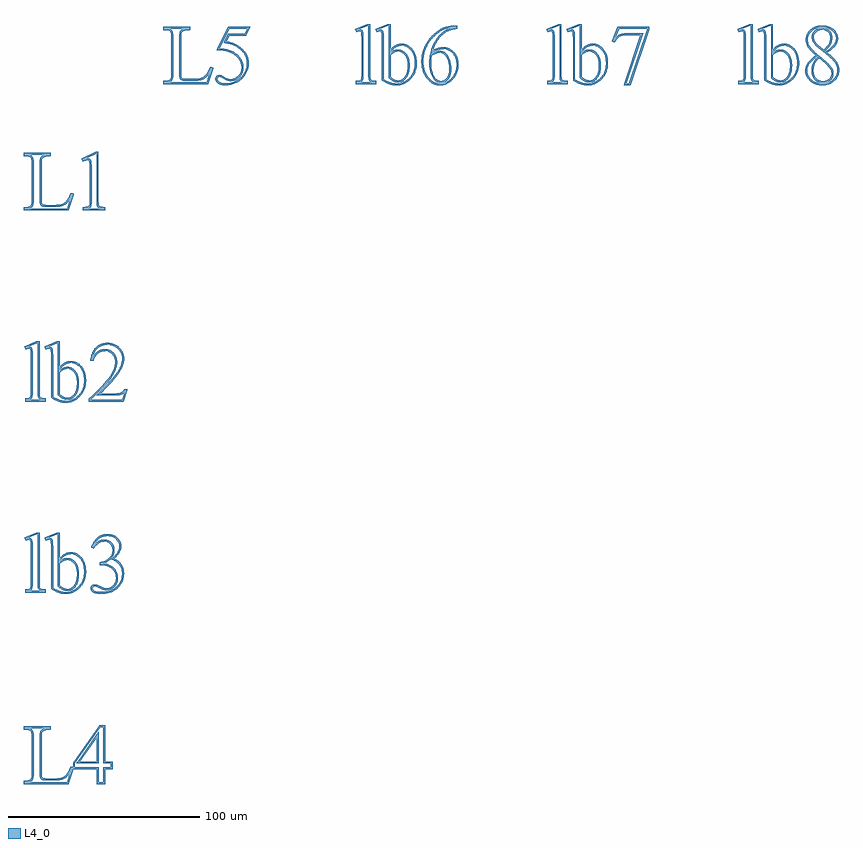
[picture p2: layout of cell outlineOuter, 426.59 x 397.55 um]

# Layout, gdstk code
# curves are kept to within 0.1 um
import gdstk
lib = gdstk.Library(unit=1e-6, precision=1e-09)
def P(c, l, *ps):  # polygons
    for p in ps: c.add(gdstk.Polygon(p, *l))
L4_0 = (4, 0)

outlineouter = lib.new_cell('outlineOuter')
P(outlineouter, L4_0, [(-87.125,-100.5),(-87.625,-100.5),(-87.625,-99.5),(-64.929,-99.5),(-63.219,-94.093),(-64.279,-95.806),(-65.252,-96.86),(-66.586,-97.803),(-68.147,-98.357),(-71.357,-98.648),(-77.06,-98.556),(-78.327,-98.141),(-78.986,-97.296),(-79.24,-96.097),(-79.297,-94.828),(-79.198,-74.284),(-78.993,-73.239),(-78.492,-72.426),(-77.659,-71.781),(-76.521,-71.359),(-84.593,-71.359),(-83.627,-71.847),(-82.972,-72.536),(-82.63,-73.478),(-82.462,-74.739),(-82.488,-96.492),(-82.888,-98.159),(-83.878,-99.171),(-84.6,-99.5),(-87.625,-99.5),(-87.625,-98.703),(-85.271,-98.642),(-84.529,-98.393),(-83.966,-97.954),(-83.583,-97.107),(-83.422,-94.828),(-83.422,-76.016),(-83.566,-73.892),(-83.905,-72.941),(-84.774,-72.352),(-85.661,-72.168),(-87.625,-72.156),(-87.625,-70.359),(-73.422,-70.359),(-73.422,-72.159),(-75.465,-72.21),(-76.742,-72.452),(-77.734,-73.077),(-78.133,-73.867),(-78.297,-76.516),(-78.297,-94.828),(-78.136,-96.691),(-77.65,-97.39),(-76.462,-97.611),(-70.678,-97.627),(-67.998,-97.297),(-66.465,-96.556),(-65.116,-95.254),(-64.049,-93.523),(-63.086,-91.359),(-61.42,-91.722),(-64.196,-100.5)],
  [(-56.328,-100.5),(-56.828,-100.5),(-56.828,-99.5),(-47.543,-99.5),(-48.413,-99.175),(-49.035,-98.617),(-49.318,-98.074),(-49.489,-96.931),(-49.547,-70.766),(-54.748,-73.255),(-53.785,-73.282),(-53.034,-73.661),(-52.503,-74.37),(-52.215,-75.568),(-52.094,-79.141),(-52.163,-97.063),(-52.456,-98.378),(-53.434,-99.288),(-54.085,-99.5),(-56.828,-99.5),(-56.829,-98.715),(-54.042,-98.461),(-53.383,-97.977),(-53.201,-97.459),(-53.106,-77.718),(-53.24,-75.418),(-53.669,-74.433),(-54.124,-74.232),(-54.694,-74.258),(-56.748,-75.055),(-57.513,-73.488),(-49.866,-69.766),(-48.547,-69.766),(-48.447,-97.377),(-48.223,-98.034),(-47.613,-98.452),(-44.875,-98.714),(-44.875,-100.5)],
  [(-86.328,-200.5),(-86.828,-200.5),(-86.828,-199.5),(-78.643,-199.5),(-79.326,-199.137),(-79.95,-198.397),(-80.235,-197.511),(-80.339,-196.451),(-80.359,-169.953),(-80.729,-169.953),(-85.18,-171.781),(-84.265,-171.866),(-83.621,-172.271),(-83.19,-173.058),(-83.011,-174.053),(-82.942,-196.438),(-83.169,-198.018),(-83.932,-199.176),(-84.502,-199.5),(-86.828,-199.5),(-86.828,-198.719),(-84.72,-198.508),(-84.276,-198.052),(-84.015,-197.245),(-83.931,-176.193),(-84.028,-173.9),(-84.28,-173.04),(-84.603,-172.807),(-85.159,-172.785),(-86.577,-173.248),(-87.368,-171.598),(-80.927,-168.953),(-79.359,-168.953),(-79.302,-196.986),(-79.131,-197.801),(-78.517,-198.476),(-77.592,-198.685),(-76.172,-198.719),(-76.172,-200.5)],
  [(-65.672,-201.109),(-67.944,-200.854),(-70.201,-200.109),(-65.233,-200.099),(-63.549,-199.852),(-61.559,-199.081),(-59.34,-197.477),(-57.593,-195.383),(-56.495,-192.9),(-56.044,-190.027),(-56.163,-187.372),(-56.861,-184.755),(-57.435,-183.64),(-58.159,-182.656),(-59.829,-181.18),(-61.053,-180.575),(-62.028,-180.32),(-63.072,-180.234),(-64.205,-180.367),(-66.038,-181.178),(-67.803,-182.727),(-69.734,-185.272),(-69.734,-169.953),(-70.105,-169.953),(-74.592,-171.781),(-73.656,-171.865),(-73.005,-172.267),(-72.562,-173.063),(-72.375,-174.074),(-72.281,-197.841),(-70.613,-198.812),(-68.989,-199.513),(-67.318,-199.96),(-65.666,-200.109),(-70.201,-200.109),(-73.281,-198.376),(-73.393,-173.922),(-73.656,-173.044),(-73.99,-172.808),(-74.891,-172.843),(-76.096,-173.251),(-76.757,-171.583),(-70.301,-168.953),(-68.734,-168.953),(-68.734,-182.277),(-66.702,-180.425),(-64.921,-179.534),(-63.062,-179.234),(-61.871,-179.333),(-60.74,-179.625),(-59.669,-180.112),(-58.658,-180.792),(-56.848,-182.714),(-55.783,-184.764),(-55.18,-187.192),(-55.046,-190.081),(-55.387,-192.616),(-56.182,-194.884),(-57.429,-196.886),(-59.056,-198.563),(-61.113,-199.977),(-63.319,-200.825)],
  [(-64.562,-199.531),(-66.216,-199.299),(-67.928,-198.531),(-64.13,-198.501),(-63.298,-198.256),(-62.488,-197.767),(-61.315,-196.574),(-60.623,-195.448),(-60.036,-193.701),(-59.789,-192.034),(-59.789,-189.335),(-60.348,-186.795),(-60.771,-185.907),(-61.499,-184.917),(-62.301,-184.168),(-63.152,-183.65),(-64.518,-183.304),(-66.048,-183.502),(-67.22,-184.051),(-68.734,-185.306),(-68.734,-196.647),(-67.759,-197.449),(-66.757,-198.031),(-65.673,-198.406),(-64.554,-198.531),(-67.928,-198.531),(-69.734,-197.069),(-69.734,-184.883),(-68.312,-183.607),(-67.268,-182.926),(-66.021,-182.454),(-64.766,-182.297),(-63.606,-182.436),(-62.253,-182.996),(-61.247,-183.753),(-60.32,-184.778),(-59.588,-186.028),(-59.08,-187.503),(-58.798,-189.202),(-58.734,-190.625),(-58.847,-192.641),(-59.079,-193.989),(-59.583,-195.569),(-60.108,-196.589),(-60.994,-197.739),(-62.206,-198.788),(-63.226,-199.301)],
  [(-53.047,-200.5),(-53.547,-200.5),(-53.547,-199.5),(-36.21,-199.5),(-34.746,-195.456),(-35.405,-196.114),(-36.306,-196.677),(-38.101,-197.149),(-49.793,-197.25),(-47.905,-195.494),(-44.579,-191.988),(-39.807,-186.552),(-37.516,-182.991),(-36.864,-181.605),(-36.356,-180.017),(-36.125,-178.433),(-36.247,-176.513),(-36.81,-174.904),(-37.575,-173.723),(-38.904,-172.4),(-40.492,-171.441),(-42.297,-170.899),(-43.898,-170.766),(-45.41,-170.89),(-46.774,-171.262),(-47.711,-171.704),(-48.844,-172.511),(-49.723,-173.421),(-50.424,-174.45),(-50.989,-175.636),(-51.504,-177.339),(-50.783,-176.054),(-49.888,-174.989),(-48.962,-174.238),(-47.747,-173.577),(-46.442,-173.18),(-45.047,-173.047),(-43.502,-173.238),(-42.37,-173.664),(-41.331,-174.332),(-40.392,-175.238),(-39.648,-176.302),(-39.133,-177.494),(-38.846,-178.815),(-38.794,-180.366),(-38.981,-181.828),(-39.391,-183.341),(-40.287,-185.438),(-41.22,-187.07),(-44.328,-191.166),(-47.549,-194.629),(-52.547,-199.5),(-53.547,-199.5),(-53.547,-198.982),(-46.965,-192.585),(-44.594,-189.938),(-42.783,-187.61),(-41.47,-185.533),(-40.531,-183.554),(-39.968,-181.673),(-39.793,-180.327),(-39.999,-178.095),(-40.389,-177.042),(-40.974,-176.105),(-41.735,-175.297),(-42.583,-174.685),(-43.508,-174.276),(-44.509,-174.072),(-46.476,-174.21),(-48.202,-174.936),(-49.168,-175.683),(-49.981,-176.652),(-51.062,-179),(-52.792,-179.001),(-52.318,-176.473),(-51.699,-174.753),(-50.86,-173.272),(-49.799,-172.03),(-48.544,-171.04),(-47.143,-170.333),(-45.188,-169.846),(-43.443,-169.775),(-41.684,-170.002),(-40.079,-170.53),(-38.627,-171.359),(-37.638,-172.178),(-36.533,-173.444),(-35.743,-174.821),(-35.358,-175.926),(-35.12,-177.496),(-35.177,-179.07),(-35.531,-180.814),(-36.867,-183.896),(-38.996,-187.137),(-41.428,-190.041),(-47.247,-196.25),(-39.821,-196.24),(-37.708,-196.086),(-36.738,-195.775),(-36.051,-195.35),(-34.917,-193.891),(-33.114,-193.89),(-35.508,-200.5)],
  [(-86.328,-300.5),(-86.828,-300.5),(-86.828,-299.5),(-78.643,-299.5),(-79.326,-299.137),(-79.95,-298.397),(-80.235,-297.511),(-80.339,-296.451),(-80.359,-269.953),(-80.729,-269.953),(-85.18,-271.781),(-84.265,-271.866),(-83.621,-272.271),(-83.19,-273.058),(-83.011,-274.053),(-82.942,-296.438),(-83.169,-298.018),(-83.932,-299.176),(-84.502,-299.5),(-86.828,-299.5),(-86.828,-298.719),(-84.72,-298.508),(-84.276,-298.052),(-84.015,-297.245),(-83.931,-276.193),(-84.028,-273.9),(-84.28,-273.04),(-84.603,-272.807),(-85.159,-272.785),(-86.577,-273.248),(-87.368,-271.598),(-80.927,-268.953),(-79.359,-268.953),(-79.302,-296.986),(-79.131,-297.801),(-78.517,-298.476),(-77.592,-298.685),(-76.172,-298.719),(-76.172,-300.5)],
  [(-65.672,-301.109),(-67.944,-300.854),(-70.201,-300.109),(-65.233,-300.099),(-63.549,-299.852),(-61.559,-299.081),(-59.34,-297.477),(-57.593,-295.383),(-56.495,-292.9),(-56.044,-290.027),(-56.163,-287.372),(-56.861,-284.755),(-57.435,-283.64),(-58.159,-282.656),(-59.829,-281.18),(-61.053,-280.575),(-62.028,-280.32),(-63.072,-280.234),(-64.205,-280.367),(-66.038,-281.178),(-67.803,-282.727),(-69.734,-285.272),(-69.734,-269.953),(-70.105,-269.953),(-74.592,-271.781),(-73.656,-271.865),(-73.005,-272.267),(-72.562,-273.063),(-72.375,-274.074),(-72.281,-297.841),(-70.613,-298.812),(-68.989,-299.513),(-67.318,-299.96),(-65.666,-300.109),(-70.201,-300.109),(-73.281,-298.376),(-73.393,-273.922),(-73.656,-273.044),(-73.99,-272.808),(-74.891,-272.843),(-76.096,-273.251),(-76.757,-271.583),(-70.301,-268.953),(-68.734,-268.953),(-68.734,-282.277),(-66.702,-280.425),(-64.921,-279.534),(-63.062,-279.234),(-61.871,-279.333),(-60.74,-279.625),(-59.669,-280.112),(-58.658,-280.792),(-56.848,-282.714),(-55.783,-284.764),(-55.18,-287.192),(-55.046,-290.081),(-55.387,-292.616),(-56.182,-294.884),(-57.429,-296.886),(-59.056,-298.563),(-61.113,-299.977),(-63.319,-300.825)],
  [(-64.562,-299.531),(-66.216,-299.299),(-67.928,-298.531),(-64.13,-298.501),(-63.298,-298.256),(-62.488,-297.767),(-61.315,-296.574),(-60.623,-295.448),(-60.036,-293.701),(-59.789,-292.034),(-59.789,-289.335),(-60.348,-286.795),(-60.771,-285.907),(-61.499,-284.917),(-62.301,-284.168),(-63.152,-283.65),(-64.518,-283.304),(-66.048,-283.502),(-67.22,-284.051),(-68.734,-285.306),(-68.734,-296.647),(-67.759,-297.449),(-66.757,-298.031),(-65.673,-298.406),(-64.554,-298.531),(-67.928,-298.531),(-69.734,-297.069),(-69.734,-284.883),(-68.312,-283.607),(-67.268,-282.926),(-66.021,-282.454),(-64.766,-282.297),(-63.606,-282.436),(-62.253,-282.996),(-61.247,-283.753),(-60.32,-284.778),(-59.588,-286.028),(-59.08,-287.503),(-58.798,-289.202),(-58.734,-290.625),(-58.847,-292.641),(-59.079,-293.989),(-59.583,-295.569),(-60.108,-296.589),(-60.994,-297.739),(-62.206,-298.788),(-63.226,-299.301)],
  [(-47.141,-301.016),(-49.77,-300.809),(-50.926,-300.472),(-51.675,-300.016),(-45.081,-299.895),(-42.651,-299.358),(-41.054,-298.673),(-39.226,-297.385),(-37.905,-295.908),(-36.878,-294.096),(-36.298,-292.096),(-36.156,-290.359),(-36.281,-288.864),(-36.657,-287.5),(-37.284,-286.268),(-38.163,-285.175),(-39.287,-284.244),(-40.364,-283.617),(-42.058,-282.911),(-39.743,-280.767),(-38.801,-279.588),(-38.129,-278.43),(-37.727,-277.291),(-37.594,-276.172),(-37.72,-275.095),(-38.102,-274.059),(-38.592,-273.259),(-39.593,-272.154),(-41.309,-271.168),(-42.33,-270.897),(-43.881,-270.766),(-45.153,-270.858),(-46.586,-271.235),(-47.842,-271.902),(-48.985,-272.902),(-49.932,-274.072),(-50.773,-275.471),(-49.62,-274.256),(-48.354,-273.387),(-47.331,-272.962),(-45.868,-272.699),(-44.397,-272.783),(-43.167,-273.167),(-41.882,-274.016),(-41.019,-275.013),(-40.373,-276.443),(-40.163,-277.827),(-40.274,-279.455),(-40.795,-281.096),(-41.472,-282.221),(-42.806,-283.531),(-44.204,-284.406),(-45.836,-285.084),(-44.144,-285.417),(-42.345,-286.16),(-41.008,-286.984),(-39.934,-288.034),(-39.125,-289.413),(-38.528,-291.15),(-38.328,-292.937),(-38.502,-294.442),(-39.018,-295.816),(-39.879,-297.058),(-41.018,-298.099),(-42.554,-298.879),(-43.968,-299.133),(-45.67,-298.997),(-46.838,-298.608),(-49.326,-297.375),(-50.5,-297.141),(-51.18,-297.333),(-51.671,-297.923),(-51.668,-298.504),(-51.245,-299.08),(-50.61,-299.521),(-49.912,-299.763),(-47.128,-300.016),(-51.675,-300.016),(-52.216,-299.499),(-52.636,-298.75),(-52.676,-297.812),(-52.343,-297.079),(-51.529,-296.381),(-50.721,-296.151),(-49.256,-296.336),(-45.467,-298.018),(-44.013,-298.135),(-42.85,-297.924),(-41.989,-297.539),(-41,-296.786),(-40.163,-295.79),(-39.611,-294.678),(-39.334,-293.199),(-39.504,-291.366),(-40.163,-289.566),(-41.004,-288.311),(-42.489,-287.216),(-44.302,-286.415),(-45.843,-286.088),(-47.812,-286.047),(-47.812,-284.447),(-45.78,-284.011),(-44.169,-283.242),(-42.797,-282.209),(-41.868,-281.002),(-41.334,-279.632),(-41.156,-278.125),(-41.328,-276.738),(-41.97,-275.395),(-42.708,-274.624),(-43.778,-273.993),(-45.022,-273.707),(-46.248,-273.739),(-47.657,-274.155),(-48.632,-274.74),(-49.825,-275.885),(-50.878,-277.397),(-52.411,-276.647),(-51.534,-274.773),(-50.548,-273.216),(-49.426,-271.926),(-48.415,-271.083),(-47.272,-270.438),(-45.67,-269.934),(-44.249,-269.773),(-42.535,-269.854),(-40.571,-270.384),(-39.242,-271.154),(-37.769,-272.691),(-36.888,-274.374),(-36.648,-275.387),(-36.608,-276.567),(-37.098,-278.558),(-38.285,-280.569),(-40.169,-282.602),(-38.6,-283.504),(-37.714,-284.219),(-36.622,-285.462),(-35.981,-286.549),(-35.437,-288.037),(-35.208,-289.33),(-35.315,-292.277),(-35.789,-294.062),(-36.826,-296.107),(-38.106,-297.692),(-39.504,-298.887),(-41.107,-299.817),(-42.914,-300.482),(-44.925,-300.881)],
  [(-87.125,-400.5),(-87.625,-400.5),(-87.625,-399.5),(-64.929,-399.5),(-63.219,-394.093),(-64.279,-395.806),(-65.252,-396.86),(-66.586,-397.803),(-68.147,-398.357),(-71.357,-398.648),(-77.06,-398.556),(-78.327,-398.141),(-78.986,-397.296),(-79.24,-396.097),(-79.297,-394.828),(-79.198,-374.284),(-78.993,-373.239),(-78.492,-372.426),(-77.659,-371.781),(-76.521,-371.359),(-84.593,-371.359),(-83.627,-371.847),(-82.972,-372.536),(-82.63,-373.478),(-82.462,-374.739),(-82.488,-396.492),(-82.888,-398.159),(-83.878,-399.171),(-84.6,-399.5),(-87.625,-399.5),(-87.625,-398.703),(-85.271,-398.642),(-84.529,-398.393),(-83.966,-397.954),(-83.583,-397.107),(-83.422,-394.828),(-83.422,-376.016),(-83.566,-373.892),(-83.905,-372.941),(-84.774,-372.352),(-85.661,-372.168),(-87.625,-372.156),(-87.625,-370.359),(-73.422,-370.359),(-73.422,-372.159),(-75.465,-372.21),(-76.742,-372.452),(-77.734,-373.077),(-78.133,-373.867),(-78.297,-376.516),(-78.297,-394.828),(-78.136,-396.691),(-77.65,-397.39),(-76.462,-397.611),(-70.678,-397.627),(-67.998,-397.297),(-66.465,-396.556),(-65.116,-395.254),(-64.049,-393.523),(-63.086,-391.359),(-61.42,-391.722),(-64.196,-400.5)],
  [(-48.984,-400.5),(-49.484,-400.5),(-49.484,-399.5),(-45.937,-399.5),(-45.937,-391.812),(-42.031,-391.812),(-42.031,-389.75),(-45.937,-389.75),(-45.937,-370.766),(-47.537,-370.766),(-60.812,-389.72),(-60.812,-391.812),(-48.484,-391.812),(-48.484,-399.5),(-49.484,-399.5),(-49.484,-392.812),(-61.812,-392.812),(-61.812,-389.405),(-48.057,-369.766),(-44.937,-369.766),(-44.937,-388.75),(-41.031,-388.75),(-41.031,-392.812),(-44.937,-392.812),(-44.937,-400.5)],
  [(-60.17,-389.751),(-59.611,-388.961),(-59.462,-388.75),(-49.484,-388.75),(-49.484,-376.37),(-58.237,-388.75),(-59.462,-388.75),(-49.393,-374.508),(-48.484,-373.219),(-48.484,-389.25),(-48.484,-389.75),(-59.203,-389.75)],
  [(-14.125,-34.5),(-14.625,-34.5),(-14.625,-33.5),(8.071,-33.5),(9.781,-28.093),(8.721,-29.806),(7.748,-30.86),(6.414,-31.803),(4.853,-32.357),(1.643,-32.648),(-4.06,-32.556),(-5.327,-32.141),(-5.986,-31.296),(-6.24,-30.097),(-6.297,-28.828),(-6.198,-8.284),(-5.993,-7.239),(-5.492,-6.426),(-4.659,-5.781),(-3.521,-5.359),(-11.593,-5.359),(-10.627,-5.847),(-9.972,-6.536),(-9.63,-7.478),(-9.462,-8.739),(-9.488,-30.492),(-9.888,-32.159),(-10.878,-33.171),(-11.6,-33.5),(-14.625,-33.5),(-14.625,-32.703),(-12.271,-32.642),(-11.529,-32.393),(-10.966,-31.954),(-10.583,-31.107),(-10.422,-28.828),(-10.422,-10.016),(-10.566,-7.892),(-10.905,-6.941),(-11.774,-6.352),(-12.661,-6.168),(-14.625,-6.156),(-14.625,-4.359),(-0.422,-4.359),(-0.422,-6.159),(-2.465,-6.21),(-3.742,-6.452),(-4.734,-7.077),(-5.133,-7.867),(-5.297,-10.516),(-5.297,-28.828),(-5.136,-30.691),(-4.65,-31.39),(-3.462,-31.611),(2.322,-31.627),(5.002,-31.297),(6.535,-30.556),(7.884,-29.254),(8.951,-27.523),(9.914,-25.359),(11.58,-25.722),(8.804,-34.5)],
  [(18.109,-35.016),(15.686,-34.767),(13.985,-34.016),(18.11,-34.016),(19.963,-33.856),(22.377,-33.144),(24.558,-31.953),(26.645,-30.074),(28.013,-28.036),(28.905,-25.635),(29.115,-23.066),(28.861,-21.282),(28.065,-19.224),(27.046,-17.715),(25.57,-16.226),(23.676,-14.897),(22.066,-14.102),(19.666,-13.309),(17.001,-12.816),(19.344,-8.016),(28.101,-8.016),(29.315,-5.359),(19.967,-5.359),(14.863,-15.726),(18.801,-16.267),(20.073,-16.634),(21.764,-17.372),(23.112,-18.19),(24.293,-19.147),(25.307,-20.243),(26.144,-21.46),(26.76,-22.731),(27.216,-24.387),(27.328,-25.766),(27.199,-27.18),(26.815,-28.482),(26.177,-29.673),(25.283,-30.752),(24.218,-31.646),(23.364,-32.148),(22.151,-32.596),(20.064,-32.778),(18.28,-32.329),(15.64,-30.76),(14.575,-30.646),(14.035,-30.878),(13.629,-31.47),(13.746,-32.266),(14.163,-32.85),(14.734,-33.321),(15.583,-33.707),(18.101,-34.016),(13.985,-34.016),(13.154,-33.203),(12.66,-32.144),(12.702,-31.078),(13.421,-30.09),(14.389,-29.664),(15.165,-29.638),(16.017,-29.834),(18.279,-31.226),(19.765,-31.733),(21.641,-31.687),(23.187,-31.113),(24.576,-30.045),(25.501,-28.875),(26.083,-27.553),(26.328,-25.766),(26.104,-23.953),(25.274,-21.953),(24.082,-20.351),(22.523,-18.998),(20.956,-18.085),(19.026,-17.356),(16.779,-16.912),(13.289,-16.659),(19.345,-4.359),(30.872,-4.358),(28.744,-9.016),(19.969,-9.016),(18.494,-12.037),(21.052,-12.665),(23.342,-13.586),(25.366,-14.8),(27.122,-16.306),(28.435,-17.908),(29.373,-19.647),(29.936,-21.521),(30.125,-23.531),(29.88,-25.854),(29.376,-27.482),(28.348,-29.45),(26.691,-31.484),(24.713,-33.052),(22.758,-34.069),(20.131,-34.842)],
  [(86.672,-34.5),(86.172,-34.5),(86.172,-33.5),(94.357,-33.5),(93.674,-33.137),(93.05,-32.397),(92.765,-31.511),(92.661,-30.451),(92.641,-3.953),(92.271,-3.953),(87.82,-5.781),(88.735,-5.866),(89.379,-6.271),(89.81,-7.058),(89.989,-8.053),(90.058,-30.438),(89.831,-32.018),(89.068,-33.176),(88.498,-33.5),(86.172,-33.5),(86.172,-32.719),(88.28,-32.508),(88.724,-32.052),(88.985,-31.245),(89.069,-10.193),(88.972,-7.9),(88.72,-7.04),(88.397,-6.807),(87.841,-6.785),(86.423,-7.248),(85.632,-5.598),(92.073,-2.953),(93.641,-2.953),(93.698,-30.986),(93.869,-31.801),(94.483,-32.476),(95.408,-32.685),(96.828,-32.719),(96.828,-34.5)],
  [(107.328,-35.109),(105.056,-34.854),(102.799,-34.109),(107.767,-34.099),(109.451,-33.852),(111.441,-33.081),(113.66,-31.477),(115.407,-29.383),(116.505,-26.9),(116.956,-24.027),(116.837,-21.372),(116.139,-18.755),(115.565,-17.64),(114.841,-16.656),(113.171,-15.18),(111.947,-14.575),(110.972,-14.319),(109.928,-14.234),(108.795,-14.367),(106.962,-15.178),(105.197,-16.727),(103.266,-19.272),(103.266,-3.953),(102.895,-3.953),(98.408,-5.781),(99.344,-5.865),(99.995,-6.267),(100.438,-7.063),(100.625,-8.074),(100.719,-31.841),(102.387,-32.812),(104.011,-33.513),(105.682,-33.96),(107.334,-34.109),(102.799,-34.109),(99.719,-32.376),(99.607,-7.922),(99.344,-7.044),(99.01,-6.808),(98.109,-6.843),(96.904,-7.251),(96.243,-5.583),(102.699,-2.953),(104.266,-2.953),(104.266,-16.277),(106.298,-14.425),(108.079,-13.534),(109.938,-13.234),(111.129,-13.333),(112.26,-13.625),(113.331,-14.112),(114.342,-14.792),(116.152,-16.714),(117.217,-18.764),(117.82,-21.192),(117.954,-24.081),(117.613,-26.616),(116.818,-28.884),(115.571,-30.886),(113.944,-32.563),(111.887,-33.977),(109.681,-34.825)],
  [(108.438,-33.531),(106.784,-33.299),(105.072,-32.531),(108.87,-32.501),(109.702,-32.256),(110.512,-31.767),(111.685,-30.574),(112.377,-29.448),(112.964,-27.701),(113.211,-26.034),(113.211,-23.335),(112.652,-20.795),(112.229,-19.907),(111.501,-18.917),(110.699,-18.168),(109.848,-17.65),(108.482,-17.304),(106.952,-17.502),(105.78,-18.051),(104.266,-19.306),(104.266,-30.647),(105.241,-31.449),(106.243,-32.031),(107.327,-32.406),(108.446,-32.531),(105.072,-32.531),(103.266,-31.069),(103.266,-18.883),(104.688,-17.607),(105.732,-16.926),(106.979,-16.454),(108.234,-16.297),(109.394,-16.436),(110.747,-16.996),(111.753,-17.753),(112.68,-18.778),(113.412,-20.028),(113.92,-21.503),(114.202,-23.202),(114.266,-24.625),(114.153,-26.641),(113.921,-27.989),(113.417,-29.569),(112.892,-30.589),(112.006,-31.739),(110.794,-32.788),(109.774,-33.301)],
  [(130.047,-35.016),(127.793,-34.716),(126.124,-34.016),(130.568,-34.002),(132.018,-33.8),(134.183,-32.924),(135.691,-31.737),(137.406,-29.467),(138.131,-27.935),(138.501,-26.735),(138.797,-24.203),(138.669,-22.491),(138.404,-21.317),(137.64,-19.566),(136.22,-17.826),(134.821,-16.819),(132.956,-16.188),(130.821,-16.181),(128.967,-16.619),(127.113,-17.454),(124.889,-18.913),(125.657,-16.159),(126.644,-13.566),(127.838,-11.343),(129.332,-9.342),(131.104,-7.575),(132.948,-6.233),(134.973,-5.301),(137.132,-4.771),(134.417,-5.158),(132.029,-5.937),(130.043,-7.029),(127.983,-8.611),(125.636,-10.984),(124.001,-13.267),(122.733,-15.766),(121.874,-18.406),(121.444,-21.151),(121.451,-24.006),(121.941,-26.684),(122.921,-29.085),(124.392,-31.209),(126.071,-32.796),(128.071,-33.756),(130.06,-34.016),(126.116,-34.012),(124.112,-32.386),(122.773,-30.751),(122.046,-29.57),(120.988,-26.987),(120.458,-24.111),(120.491,-20.581),(121.153,-17.231),(122.428,-14.038),(123.958,-11.519),(126.228,-8.871),(128.801,-6.675),(131.297,-5.171),(133.692,-4.314),(136.263,-3.827),(139.219,-3.766),(139.219,-5.515),(136.281,-5.966),(134.306,-6.64),(132.595,-7.666),(130.899,-9.128),(129.348,-10.914),(128.376,-12.38),(127.466,-14.178),(126.561,-16.618),(128.568,-15.699),(130.586,-15.204),(132.725,-15.15),(134.575,-15.603),(136.256,-16.556),(137.76,-18.004),(138.891,-19.792),(139.57,-21.858),(139.788,-24.678),(139.473,-26.971),(138.709,-29.13),(137.497,-31.155),(135.972,-32.842),(134.223,-34.048),(132.247,-34.772)],
  [(130.672,-33.812),(129.032,-33.524),(127.836,-32.813),(131.082,-32.788),(132.411,-32.311),(133.289,-31.598),(133.943,-30.797),(134.454,-29.802),(134.794,-28.624),(134.984,-26.516),(134.788,-23.994),(134.197,-21.748),(133.233,-19.828),(132.645,-19.113),(131.752,-18.436),(130.734,-18.067),(129.878,-17.984),(128.075,-18.385),(125.824,-19.599),(125.557,-22.05),(125.48,-24.486),(125.759,-26.608),(126.403,-28.877),(127.384,-30.807),(128.342,-31.932),(129.395,-32.592),(130.681,-32.813),(127.836,-32.813),(126.911,-31.849),(125.973,-30.382),(125.258,-28.62),(124.777,-26.798),(124.481,-24.525),(124.567,-21.889),(124.895,-18.996),(127.693,-17.461),(129.648,-16.99),(130.947,-17.09),(131.926,-17.407),(132.808,-17.93),(133.819,-18.936),(134.647,-20.278),(135.265,-21.768),(135.693,-23.384),(135.96,-25.582),(135.959,-27.353),(135.76,-28.884),(135.361,-30.222),(134.764,-31.367),(133.977,-32.322),(132.878,-33.195),(131.934,-33.621)],
  [(186.672,-34.5),(186.172,-34.5),(186.172,-33.5),(194.357,-33.5),(193.674,-33.137),(193.05,-32.397),(192.765,-31.511),(192.661,-30.451),(192.641,-3.953),(192.271,-3.953),(187.82,-5.781),(188.735,-5.866),(189.379,-6.271),(189.81,-7.058),(189.989,-8.053),(190.058,-30.438),(189.831,-32.018),(189.068,-33.176),(188.498,-33.5),(186.172,-33.5),(186.172,-32.719),(188.28,-32.508),(188.724,-32.052),(188.985,-31.245),(189.069,-10.193),(188.972,-7.9),(188.72,-7.04),(188.397,-6.807),(187.841,-6.785),(186.423,-7.248),(185.632,-5.598),(192.073,-2.953),(193.641,-2.953),(193.698,-30.986),(193.869,-31.801),(194.483,-32.476),(195.408,-32.685),(196.828,-32.719),(196.828,-34.5)],
  [(207.328,-35.109),(205.056,-34.854),(202.799,-34.109),(207.767,-34.099),(209.451,-33.852),(211.441,-33.081),(213.66,-31.477),(215.407,-29.383),(216.505,-26.9),(216.956,-24.027),(216.837,-21.372),(216.139,-18.755),(215.565,-17.64),(214.841,-16.656),(213.171,-15.18),(211.947,-14.575),(210.972,-14.319),(209.928,-14.234),(208.795,-14.367),(206.962,-15.178),(205.197,-16.727),(203.266,-19.272),(203.266,-3.953),(202.895,-3.953),(198.408,-5.781),(199.344,-5.865),(199.995,-6.267),(200.438,-7.063),(200.625,-8.074),(200.719,-31.841),(202.387,-32.812),(204.011,-33.513),(205.682,-33.96),(207.334,-34.109),(202.799,-34.109),(199.719,-32.376),(199.607,-7.922),(199.344,-7.044),(199.01,-6.808),(198.109,-6.843),(196.904,-7.251),(196.243,-5.583),(202.699,-2.953),(204.266,-2.953),(204.266,-16.277),(206.298,-14.425),(208.079,-13.534),(209.938,-13.234),(211.129,-13.333),(212.26,-13.625),(213.331,-14.112),(214.342,-14.792),(216.152,-16.714),(217.217,-18.764),(217.82,-21.192),(217.954,-24.081),(217.613,-26.616),(216.818,-28.884),(215.571,-30.886),(213.944,-32.563),(211.887,-33.977),(209.681,-34.825)],
  [(208.438,-33.531),(206.784,-33.299),(205.072,-32.531),(208.87,-32.501),(209.702,-32.256),(210.512,-31.767),(211.685,-30.574),(212.377,-29.448),(212.964,-27.701),(213.211,-26.034),(213.211,-23.335),(212.652,-20.795),(212.229,-19.907),(211.501,-18.917),(210.699,-18.168),(209.848,-17.65),(208.482,-17.304),(206.952,-17.502),(205.78,-18.051),(204.266,-19.306),(204.266,-30.647),(205.241,-31.449),(206.243,-32.031),(207.327,-32.406),(208.446,-32.531),(205.072,-32.531),(203.266,-31.069),(203.266,-18.883),(204.688,-17.607),(205.732,-16.926),(206.979,-16.454),(208.234,-16.297),(209.394,-16.436),(210.747,-16.996),(211.753,-17.753),(212.68,-18.778),(213.412,-20.028),(213.92,-21.503),(214.202,-23.202),(214.266,-24.625),(214.153,-26.641),(213.921,-27.989),(213.417,-29.569),(212.892,-30.589),(212.006,-31.739),(210.794,-32.788),(209.774,-33.301)],
  [(226.229,-35.11),(226.561,-34.109),(228.969,-34.109),(238.547,-5.359),(223.76,-5.359),(221.758,-10.329),(222.496,-9.54),(223.613,-8.691),(225.41,-8.035),(227.609,-7.875),(236.318,-7.874),(227.615,-34.109),(226.561,-34.109),(234.932,-8.875),(227.056,-8.883),(224.945,-9.164),(223.993,-9.634),(222.887,-10.559),(221.482,-12.625),(219.987,-12.05),(223.083,-4.359),(239.547,-4.359),(239.547,-5.769),(229.688,-35.109)],
  [(286.672,-34.5),(286.172,-34.5),(286.172,-33.5),(294.357,-33.5),(293.674,-33.137),(293.05,-32.397),(292.765,-31.511),(292.661,-30.451),(292.641,-3.953),(292.271,-3.953),(287.82,-5.781),(288.735,-5.866),(289.379,-6.271),(289.81,-7.058),(289.989,-8.053),(290.058,-30.438),(289.831,-32.018),(289.068,-33.176),(288.498,-33.5),(286.172,-33.5),(286.172,-32.719),(288.28,-32.508),(288.724,-32.052),(288.985,-31.245),(289.069,-10.193),(288.972,-7.9),(288.72,-7.04),(288.397,-6.807),(287.841,-6.785),(286.423,-7.248),(285.632,-5.598),(292.073,-2.953),(293.641,-2.953),(293.698,-30.986),(293.869,-31.801),(294.483,-32.476),(295.408,-32.685),(296.828,-32.719),(296.828,-34.5)],
  [(307.328,-35.109),(305.056,-34.854),(302.799,-34.109),(307.767,-34.099),(309.451,-33.852),(311.441,-33.081),(313.66,-31.477),(315.406,-29.383),(316.505,-26.9),(316.956,-24.027),(316.837,-21.372),(316.139,-18.755),(315.565,-17.64),(314.841,-16.656),(313.171,-15.18),(311.947,-14.575),(310.972,-14.319),(309.928,-14.234),(308.795,-14.367),(306.962,-15.178),(305.197,-16.727),(303.266,-19.272),(303.266,-3.953),(302.895,-3.953),(298.408,-5.781),(299.344,-5.865),(299.995,-6.267),(300.438,-7.063),(300.625,-8.074),(300.719,-31.841),(302.387,-32.812),(304.011,-33.513),(305.682,-33.96),(307.334,-34.109),(302.799,-34.109),(299.719,-32.376),(299.607,-7.922),(299.344,-7.044),(299.01,-6.808),(298.109,-6.843),(296.904,-7.251),(296.243,-5.583),(302.699,-2.953),(304.266,-2.953),(304.266,-16.277),(306.298,-14.425),(308.079,-13.534),(309.938,-13.234),(311.129,-13.333),(312.26,-13.625),(313.331,-14.112),(314.342,-14.792),(316.152,-16.714),(317.217,-18.764),(317.82,-21.192),(317.954,-24.081),(317.613,-26.616),(316.818,-28.884),(315.571,-30.886),(313.944,-32.563),(311.887,-33.977),(309.681,-34.825)],
  [(308.438,-33.531),(306.784,-33.299),(305.072,-32.531),(308.87,-32.501),(309.702,-32.256),(310.512,-31.767),(311.685,-30.574),(312.377,-29.448),(312.964,-27.701),(313.211,-26.034),(313.211,-23.335),(312.652,-20.795),(312.229,-19.907),(311.501,-18.917),(310.699,-18.168),(309.848,-17.65),(308.482,-17.304),(306.952,-17.502),(305.78,-18.051),(304.266,-19.306),(304.266,-30.647),(305.241,-31.449),(306.243,-32.031),(307.327,-32.406),(308.446,-32.531),(305.072,-32.531),(303.266,-31.069),(303.266,-18.883),(304.688,-17.607),(305.732,-16.926),(306.979,-16.454),(308.234,-16.297),(309.394,-16.436),(310.747,-16.996),(311.753,-17.753),(312.68,-18.778),(313.412,-20.028),(313.92,-21.503),(314.202,-23.202),(314.266,-24.625),(314.153,-26.641),(313.921,-27.989),(313.417,-29.569),(312.892,-30.589),(312.006,-31.739),(310.794,-32.788),(309.774,-33.301)],
  [(329.984,-35.016),(327.435,-34.745),(325.418,-34.016),(330.87,-33.984),(332.493,-33.728),(333.941,-33.216),(335.214,-32.449),(336.528,-31.179),(337.424,-29.732),(337.834,-28.457),(337.969,-27.078),(337.819,-25.688),(337.482,-24.604),(336.789,-23.285),(336.093,-22.34),(334.611,-20.822),(330.955,-17.816),(333.2,-16.354),(335.074,-14.88),(336.252,-13.584),(337.06,-12.037),(337.328,-10.531),(337.136,-9.191),(336.394,-7.699),(335.347,-6.553),(333.658,-5.464),(331.963,-4.94),(329.569,-4.773),(327.618,-5.036),(325.935,-5.673),(324.274,-6.926),(323.278,-8.214),(322.61,-9.941),(322.484,-11.203),(322.615,-12.47),(323.416,-14.514),(324.979,-16.442),(328.255,-19.353),(325.093,-21.874),(324.121,-22.866),(323.098,-24.249),(322.644,-25.136),(322.247,-26.469),(322.178,-27.643),(322.413,-29.024),(322.842,-30.082),(323.487,-31.098),(325.08,-32.652),(326.116,-33.249),(327.277,-33.675),(329.972,-34.016),(325.418,-34.016),(324.134,-33.192),(322.904,-31.973),(321.943,-30.517),(321.365,-28.979),(321.172,-27.359),(321.518,-25.284),(322.556,-23.241),(324.192,-21.352),(326.628,-19.304),(323.58,-16.402),(322.682,-15.23),(322.085,-14.091),(321.635,-12.667),(321.484,-11.203),(321.568,-10.091),(321.937,-8.701),(322.405,-7.726),(323.287,-6.519),(325.101,-4.998),(327.342,-4.075),(330,-3.766),(332.59,-4.054),(334.777,-4.914),(335.72,-5.559),(336.798,-6.601),(337.422,-7.439),(338.001,-8.62),(338.291,-9.876),(338.308,-10.981),(338.015,-12.334),(337.37,-13.695),(335.934,-15.444),(332.694,-17.901),(335.515,-20.299),(337.443,-22.466),(338.148,-23.649),(338.636,-24.866),(338.969,-27.078),(338.811,-28.665),(338.341,-30.131),(337.559,-31.477),(336.465,-32.702),(335.127,-33.713),(333.601,-34.436),(331.887,-34.87)],
  [(330.827,-17.693),(329.233,-16.369),(330.797,-16.369),(332.951,-14.14),(333.781,-12.818),(334.177,-11.457),(334.249,-9.828),(333.913,-8.306),(333.281,-7.286),(332.365,-6.548),(331.416,-6.174),(330.04,-6.016),(328.655,-6.175),(327.665,-6.551),(326.823,-7.149),(326.082,-8.038),(325.684,-9.031),(325.609,-9.75),(325.736,-10.746),(326.578,-12.52),(327.642,-13.748),(330.797,-16.369),(329.233,-16.369),(326.977,-14.494),(325.384,-12.499),(324.85,-11.283),(324.648,-10.364),(324.761,-8.599),(325.097,-7.749),(325.625,-6.962),(326.339,-6.244),(327.179,-5.677),(328.128,-5.284),(329.184,-5.065),(331.448,-5.156),(332.43,-5.467),(333.29,-5.955),(334.025,-6.618),(334.597,-7.427),(334.994,-8.367),(335.215,-9.439),(335.161,-11.634),(334.523,-13.587),(333.315,-15.253)],
  [(330.328,-33.859),(328.532,-33.601),(327.031,-32.859),(330.85,-32.841),(332.018,-32.634),(333.018,-32.197),(333.989,-31.384),(334.629,-30.395),(334.919,-29.266),(334.892,-28.18),(334.38,-26.649),(333.312,-25.221),(331.294,-23.19),(328.467,-20.791),(326.918,-22.519),(325.908,-24.484),(325.504,-26.293),(325.539,-28.477),(326.107,-30.304),(327.191,-31.71),(328.61,-32.572),(330.318,-32.859),(327.031,-32.859),(325.714,-31.562),(324.975,-30.227),(324.557,-28.664),(324.467,-26.71),(324.681,-25.148),(325.149,-23.67),(325.875,-22.28),(326.869,-20.977),(328.443,-19.496),(331.85,-22.345),(334.057,-24.556),(335.25,-26.157),(335.881,-28.032),(335.913,-29.372),(335.717,-30.339),(335.201,-31.436),(334.569,-32.226),(333.768,-32.903),(332.846,-33.4),(331.523,-33.768)])

lib.write_gds('outlineOuter.gds')
